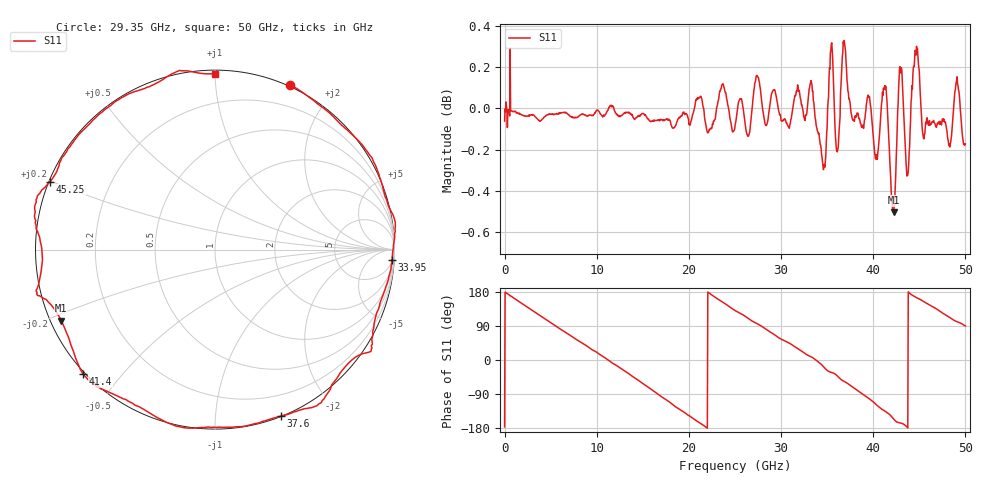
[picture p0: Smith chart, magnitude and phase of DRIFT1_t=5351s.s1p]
!Created with skrf (http://scikit-rf.org).
# Hz S RI R 50.0
!freq ReS11 ImS11
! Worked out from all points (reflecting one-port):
!   1001 points, 300 kHz to 50 GHz, reference 50 ohm
!   lowest |S11| = -0.5 dB at 42.2 GHz (marker M1), VSWR 34.36, Z = 1.53 - j11 ohm
!   phase of S11 starts at -177 deg and turns -814 deg over the sweep
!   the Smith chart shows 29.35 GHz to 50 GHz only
!   S11 on the Smith chart (normalised r, x): 29.35 GHz: -0.02, +1.55; 33.95 GHz: 7, -32; 37.6 GHz: 0.00, -1.47; 41.4 GHz: -0.01, -0.40; 45.25 GHz: 0.00, +0.20; 50 GHz: 0.02, +1.00
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300000  -0.9911 -0.0592
1.60029e9  -0.8932 0.4436
3.35028e9  -0.5703 0.8155
6.250262e9  0.1997 0.9774
9.500243e9  0.8886 0.4502
1.115023e10  0.9984 0.0227
1.250022e10  0.9339 -0.3456
1.410022e10  0.6795 -0.7252
1.580021e10  0.2459 -0.9618
1.73502e10  -0.2059 -0.9717
1.875019e10  -0.592 -0.7975
2.160017e10  -0.9923 -0.1238
2.350016e10  -0.921 0.4174
2.500015e10  -0.6446 0.7515
2.730014e10  -0.1246 1.011
2.935012e10  0.418 0.9192
3.125011e10  0.7782 0.6277
3.39501e10  0.9855 -0.0583
3.520009e10  0.8757 -0.517
3.750008e10  0.3976 -0.9205
3.760007e10  0.3674 -0.9273
3.950006e10  -0.1907 -0.9878
4.140005e10  -0.7361 -0.6922
4.220005e10  -0.8566 -0.3954
4.375004e10  -0.9632 -0.0146
4.525003e10  -0.9194 0.3788
4.770001e10  -0.5138 0.8495
5e10  0.00274 0.9803
